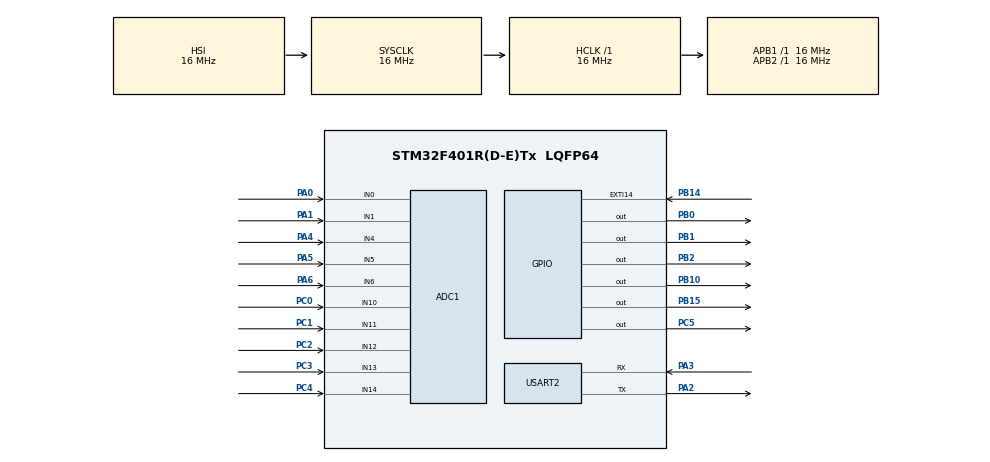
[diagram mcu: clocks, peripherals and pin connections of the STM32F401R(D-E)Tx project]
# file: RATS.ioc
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ADC1.Channel-1\#ChannelRegularConversion=ADC_CHANNEL_6
ADC1.NbrOfConversionFlag=1
ADC1.Rank-1\#ChannelRegularConversion=1
ADC1.SamplingTime-1\#ChannelRegularConversion=ADC_SAMPLETIME_3CYCLES
ADC1.master=1
Mcu.Family=STM32F4
Mcu.Name=STM32F401R(D-E)Tx
Mcu.Package=LQFP64
NVIC.PriorityGroup=NVIC_PRIORITYGROUP_4
PA0-WKUP.Signal=ADCx_IN0
PA1.Signal=ADCx_IN1
PA10.Signal=USART1_RX
PA13.Mode=Serial_Wire
PA13.Signal=SYS_JTMS-SWDIO
PA14.Mode=Serial_Wire
PA14.Signal=SYS_JTCK-SWCLK
PA2.Mode=Asynchronous
PA2.Signal=USART2_TX
PA3.Mode=Asynchronous
PA3.Signal=USART2_RX
PA4.Signal=ADCx_IN4
PA5.Signal=ADCx_IN5
PA6.Signal=ADCx_IN6
PA7.Signal=TIM1_CH1N
PA8.Signal=S_TIM1_CH1
PA9.Signal=USART1_TX
PB0.Signal=GPIO_Output
PB1.Signal=GPIO_Output
PB10.Signal=GPIO_Output
PB14.Signal=GPXTI14
PB15.Signal=GPIO_Output
PB2.Signal=GPIO_Output
PC0.Signal=ADCx_IN10
PC1.Signal=ADCx_IN11
PC2.Signal=ADCx_IN12
PC3.Signal=ADCx_IN13
PC4.Signal=ADCx_IN14
PC5.Signal=GPIO_Output
ProjectManager.HeapSize=0x200
ProjectManager.StackSize=0x400
ProjectManager.TargetToolchain=STM32CubeIDE
RCC.AHBFreq_Value=16000000
RCC.APB1Freq_Value=16000000
RCC.APB2Freq_Value=16000000
RCC.CortexFreq_Value=16000000
RCC.HSE_VALUE=25000000
RCC.HSI_VALUE=16000000
RCC.LSE_VALUE=32768
RCC.SYSCLKFreq_VALUE=16000000
RCC.VCOOutputFreq_Value=192000000
SH.ADCx_IN0.0=ADC1_IN0,IN0
SH.ADCx_IN1.0=ADC1_IN1,IN1
SH.ADCx_IN10.0=ADC1_IN10,IN10
SH.ADCx_IN11.0=ADC1_IN11,IN11
SH.ADCx_IN12.0=ADC1_IN12,IN12
SH.ADCx_IN13.0=ADC1_IN13,IN13
SH.ADCx_IN14.0=ADC1_IN14,IN14
SH.ADCx_IN4.0=ADC1_IN4,IN4
SH.ADCx_IN5.0=ADC1_IN5,IN5
SH.ADCx_IN6.0=ADC1_IN6,IN6
SH.S_TIM1_CH1.0=TIM1_CH1
TIM1.Period=999
TIM1.Prescaler=83
USART2.VirtualMode=VM_ASYNC
VP_TIM1_VS_ClockSourceINT.Mode=Internal
board=custom

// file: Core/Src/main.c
/* USER CODE BEGIN Header */
/**
  ******************************************************************************
  * @file           : main.c
  * @brief          : Main program body
  ******************************************************************************
  * @attention
  *
  * Copyright (c) 2026 STMicroelectronics.
  * All rights reserved.
  *
  * This software is licensed under terms that can be found in the LICENSE file
  * in the root directory of this software component.
  * If no LICENSE file comes with this software, it is provided AS-IS.
  *
  ******************************************************************************
  */
/* USER CODE END Header */
#include "main.h"

/* USER CODE BEGIN Includes */
#include <stdio.h>
#include <string.h>
#include <stdarg.h>

#include "debug.h"
#include "pwm.h"
#include "adc.h"
#include "simulation.h"
#include "state_machine.h"
#include "capacitor_controller.h"
/* USER CODE END Includes */

ADC_HandleTypeDef hadc1;

TIM_HandleTypeDef htim1;

UART_HandleTypeDef huart2;

void SystemClock_Config(void);
static void MX_GPIO_Init(void);
static void MX_TIM1_Init(void);
static void MX_USART2_UART_Init(void);
static void MX_ADC1_Init(void);

/* USER CODE BEGIN 0 */
void debug_print(const char *format, ...)
{
  char buffer[128];

  va_list args;
  va_start(args, format);
  vsnprintf(buffer, sizeof(buffer), format, args);
  va_end(args);

  HAL_UART_Transmit(&huart2, (uint8_t *)buffer, strlen(buffer), HAL_MAX_DELAY);
}
/* USER CODE END 0 */

int main(void)
{

  /* MCU Configuration--------------------------------------------------------*/

  /* Reset of all peripherals, Initializes the Flash interface and the Systick. */
  HAL_Init();

  /* Configure the system clock */
  SystemClock_Config();

  /* Initialize all configured peripherals */
  MX_GPIO_Init();
  MX_TIM1_Init();
  MX_USART2_UART_Init();
  MX_ADC1_Init();
  /* USER CODE BEGIN 2 */
  Debug_Init(&huart2);

  PWM_Init(&htim1);
  PWM_SetDutyCycle(50.0f);
  PWM_Start();

  ADC_Module_Init(&hadc1);

  StateMachine_Init();

  //Simulation_Init(DEMO_NORMAL_CHARGING);

  Debug_Print("\r\n");
  Debug_Print("====================================================\r\n");
  Debug_Print(" Resonant Alignment Transit System\r\n");
  Debug_Print(" Wireless EV Charging Firmware Demo\r\n");
  Debug_Print("====================================================\r\n");

  Debug_Print("UART ............... OK\r\n");
  Debug_Print("PWM ................ OK\r\n");
  Debug_Print("ADC ................ OK\r\n");

  Debug_Print("\r\nSystem Ready\r\n");
  Debug_Print("----------------------------------------------------\r\n");
  /* USER CODE END 2 */

  /* Infinite loop */
  while (1)
  {

    /* USER CODE BEGIN 3 */
	  StateMachine_Update();

	      HAL_Delay(3000);
  }
  /* USER CODE END 3 */
}

void SystemClock_Config(void)
{
  RCC_OscInitTypeDef RCC_OscInitStruct = {0};
  RCC_ClkInitTypeDef RCC_ClkInitStruct = {0};

  /** Configure the main internal regulator output voltage
  */
  __HAL_RCC_PWR_CLK_ENABLE();
  __HAL_PWR_VOLTAGESCALING_CONFIG(PWR_REGULATOR_VOLTAGE_SCALE2);

  /** Initializes the RCC Oscillators according to the specified parameters
  * in the RCC_OscInitTypeDef structure.
  */
  RCC_OscInitStruct.OscillatorType = RCC_OSCILLATORTYPE_HSI;
  RCC_OscInitStruct.HSIState = RCC_HSI_ON;
  RCC_OscInitStruct.HSICalibrationValue = RCC_HSICALIBRATION_DEFAULT;
  RCC_OscInitStruct.PLL.PLLState = RCC_PLL_NONE;
  if (HAL_RCC_OscConfig(&RCC_OscInitStruct) != HAL_OK)
  {
    Error_Handler();
  }

  /** Initializes the CPU, AHB and APB buses clocks
  */
  RCC_ClkInitStruct.ClockType = RCC_CLOCKTYPE_HCLK|RCC_CLOCKTYPE_SYSCLK
                              |RCC_CLOCKTYPE_PCLK1|RCC_CLOCKTYPE_PCLK2;
  RCC_ClkInitStruct.SYSCLKSource = RCC_SYSCLKSOURCE_HSI;
  RCC_ClkInitStruct.AHBCLKDivider = RCC_SYSCLK_DIV1;
  RCC_ClkInitStruct.APB1CLKDivider = RCC_HCLK_DIV1;
  RCC_ClkInitStruct.APB2CLKDivider = RCC_HCLK_DIV1;

  if (HAL_RCC_ClockConfig(&RCC_ClkInitStruct, FLASH_LATENCY_0) != HAL_OK)
  {
    Error_Handler();
  }
}

static void MX_ADC1_Init(void)
{

  ADC_ChannelConfTypeDef sConfig = {0};

  /** Configure the global features of the ADC (Clock, Resolution, Data Alignment and number of conversion)
  */
  hadc1.Instance = ADC1;
  hadc1.Init.ClockPrescaler = ADC_CLOCK_SYNC_PCLK_DIV2;
  hadc1.Init.Resolution = ADC_RESOLUTION_12B;
  hadc1.Init.ScanConvMode = DISABLE;
  hadc1.Init.ContinuousConvMode = DISABLE;
  hadc1.Init.DiscontinuousConvMode = DISABLE;
  hadc1.Init.ExternalTrigConvEdge = ADC_EXTERNALTRIGCONVEDGE_NONE;
  hadc1.Init.ExternalTrigConv = ADC_SOFTWARE_START;
  hadc1.Init.DataAlign = ADC_DATAALIGN_RIGHT;
  hadc1.Init.NbrOfConversion = 1;
  hadc1.Init.DMAContinuousRequests = DISABLE;
  hadc1.Init.EOCSelection = ADC_EOC_SINGLE_CONV;
  if (HAL_ADC_Init(&hadc1) != HAL_OK)
  {
    Error_Handler();
  }

  /** Configure for the selected ADC regular channel its corresponding rank in the sequencer and its sample time.
  */
  sConfig.Channel = ADC_CHANNEL_6;
  sConfig.Rank = 1;
  sConfig.SamplingTime = ADC_SAMPLETIME_3CYCLES;
  if (HAL_ADC_ConfigChannel(&hadc1, &sConfig) != HAL_OK)
  {
    Error_Handler();
  }

}

static void MX_TIM1_Init(void)
{

  TIM_ClockConfigTypeDef sClockSourceConfig = {0};
  TIM_MasterConfigTypeDef sMasterConfig = {0};

  htim1.Instance = TIM1;
  htim1.Init.Prescaler = 83;
  htim1.Init.CounterMode = TIM_COUNTERMODE_UP;
  htim1.Init.Period = 999;
  htim1.Init.ClockDivision = TIM_CLOCKDIVISION_DIV1;
  htim1.Init.RepetitionCounter = 0;
  htim1.Init.AutoReloadPreload = TIM_AUTORELOAD_PRELOAD_DISABLE;
  if (HAL_TIM_Base_Init(&htim1) != HAL_OK)
  {
    Error_Handler();
  }
  sClockSourceConfig.ClockSource = TIM_CLOCKSOURCE_INTERNAL;
  if (HAL_TIM_ConfigClockSource(&htim1, &sClockSourceConfig) != HAL_OK)
  {
    Error_Handler();
  }
  sMasterConfig.MasterOutputTrigger = TIM_TRGO_RESET;
  sMasterConfig.MasterSlaveMode = TIM_MASTERSLAVEMODE_DISABLE;
  if (HAL_TIMEx_MasterConfigSynchronization(&htim1, &sMasterConfig) != HAL_OK)
  {
    Error_Handler();
  }

}

static void MX_USART2_UART_Init(void)
{

  huart2.Instance = USART2;
  huart2.Init.BaudRate = 115200;
  huart2.Init.WordLength = UART_WORDLENGTH_8B;
  huart2.Init.StopBits = UART_STOPBITS_1;
  huart2.Init.Parity = UART_PARITY_NONE;
  huart2.Init.Mode = UART_MODE_TX_RX;
  huart2.Init.HwFlowCtl = UART_HWCONTROL_NONE;
  huart2.Init.OverSampling = UART_OVERSAMPLING_16;
  if (HAL_UART_Init(&huart2) != HAL_OK)
  {
    Error_Handler();
  }

}

static void MX_GPIO_Init(void)
{
  GPIO_InitTypeDef GPIO_InitStruct = {0};

  /* GPIO Ports Clock Enable */
  __HAL_RCC_GPIOC_CLK_ENABLE();
  __HAL_RCC_GPIOA_CLK_ENABLE();
  __HAL_RCC_GPIOB_CLK_ENABLE();

  /*Configure GPIO pin Output Level */
  HAL_GPIO_WritePin(GPIOC, GPIO_PIN_5, GPIO_PIN_RESET);

  /*Configure GPIO pin Output Level */
  HAL_GPIO_WritePin(GPIOB, GPIO_PIN_0|GPIO_PIN_1|GPIO_PIN_2|GPIO_PIN_10
                          |GPIO_PIN_15, GPIO_PIN_RESET);

  /*Configure GPIO pin : PC5 */
  GPIO_InitStruct.Pin = GPIO_PIN_5;
  GPIO_InitStruct.Mode = GPIO_MODE_OUTPUT_PP;
  GPIO_InitStruct.Pull = GPIO_NOPULL;
  GPIO_InitStruct.Speed = GPIO_SPEED_FREQ_LOW;
  HAL_GPIO_Init(GPIOC, &GPIO_InitStruct);

  /*Configure GPIO pins : PB0 PB1 PB2 PB10
                           PB15 */
  GPIO_InitStruct.Pin = GPIO_PIN_0|GPIO_PIN_1|GPIO_PIN_2|GPIO_PIN_10
                          |GPIO_PIN_15;
  GPIO_InitStruct.Mode = GPIO_MODE_OUTPUT_PP;
  GPIO_InitStruct.Pull = GPIO_NOPULL;
  GPIO_InitStruct.Speed = GPIO_SPEED_FREQ_LOW;
  HAL_GPIO_Init(GPIOB, &GPIO_InitStruct);

  /*Configure GPIO pin : PB14 */
  GPIO_InitStruct.Pin = GPIO_PIN_14;
  GPIO_InitStruct.Mode = GPIO_MODE_IT_RISING;
  GPIO_InitStruct.Pull = GPIO_NOPULL;
  HAL_GPIO_Init(GPIOB, &GPIO_InitStruct);

  /*Configure GPIO pins : PA9 PA10 */
  GPIO_InitStruct.Pin = GPIO_PIN_9|GPIO_PIN_10;
  GPIO_InitStruct.Mode = GPIO_MODE_AF_PP;
  GPIO_InitStruct.Pull = GPIO_NOPULL;
  GPIO_InitStruct.Speed = GPIO_SPEED_FREQ_VERY_HIGH;
  GPIO_InitStruct.Alternate = GPIO_AF7_USART1;
  HAL_GPIO_Init(GPIOA, &GPIO_InitStruct);

}

void Error_Handler(void)
{
  __disable_irq();
  while (1)
  {
  }
}
